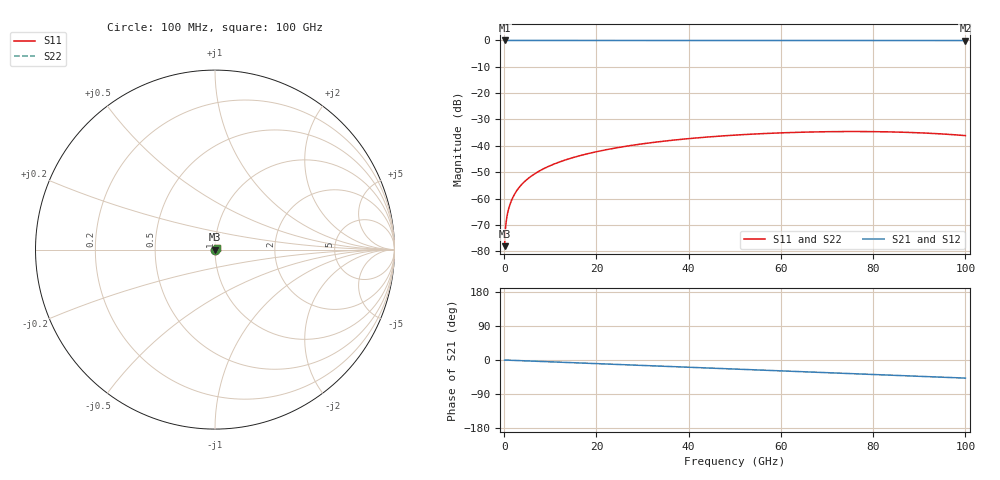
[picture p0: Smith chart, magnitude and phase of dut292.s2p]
! Touchstone file exported from HFSS 2026.1.0
!  File:  C:/ffzhzh/LocalFiles/Ansys_Project_Files/temp_train_TSV_292_1783509041_44152.aedt
!  Generated:  07:11:52 PM Jul  8, 2026
!  Design:  TSV
!  Project:  temp_train_TSV_292_1783509041_44152
! Variables:
!  h_bsmrdl = 2um
!  h_ox = 20um
!  h_rdl = 5um
!  h_sub = 94.77um
!  h_tmrdl = 5um
!  h_tsv = 94.77um
!  h_via = 3um
!  l_bsmrdl = 300um
!  l_sub = 427.04um
!  l_tmrdl = 200um
!  m_sub = 200um
!  pitch = 56.96um
!  r_tsv = 13.52um
!  s_tmrdl = 10um
!  w_bsmrdl = 18um
!  w_sub = 500um
!  w_tmrdl = 12um
!  x_tsv_center1 = 206um
!  x_tsv_center2 = 524um
!  x_tsv_center3 = 736um
!  x_tsv_center4 = 1054um
!  x_tsv_center5 = 1266um
!  x_tsv_center6 = 1584um
# GHz S MA R 50.000000
! Terminal data exported
! Port[1] = TSV1_1_T1
! Port[2] = TSV1_1_T2
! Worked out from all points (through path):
!   1000 points, 100 MHz to 100 GHz, reference 50 ohm
!   highest |S21| = 0.00 dB at 100 MHz (marker M1); lowest = 0.0 dB at 100 GHz (marker M2)
!   group delay of S21, straight-line fit = 1.33 ps
!   lowest |S11| = -78.1 dB at 100 MHz (marker M3), VSWR 1.00, Z = 50 + j0.00851 ohm
!   |S11| at or under -10 dB: start of sweep to end of sweep
!   |S22| runs from -78.1 to -34.6 dB; largest |S21 - S12| = 6.3e-15
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0.1  0.0001247 43.1  0.9999 -0.1  0.9999 -0.1  0.0001247 43.1
! Gamma 0 0 0 0
! Port Impedance 50 0 50 0
0.3  0.0002697 61.0  0.9999 -0.1  0.9999 -0.1  0.0002697 61.0
0.7  0.0005056 64.1  0.9998 -0.3  0.9998 -0.3  0.0005056 64.1
0.8  0.0005552 64.6  0.9998 -0.4  0.9998 -0.4  0.0005552 64.6
1  0.0006499 65.6  0.9997 -0.5  0.9997 -0.5  0.0006499 65.6
1.3  0.0007867 67.1  0.9997 -0.6  0.9997 -0.6  0.0007867 67.1
1.8  0.001009 69.1  0.9997 -0.9  0.9997 -0.9  0.001009 69.0
2.4  0.00127 70.5  0.9996 -1.2  0.9996 -1.2  0.00127 70.5
3.1  0.001564 71.5  0.9995 -1.5  0.9995 -1.5  0.001564 71.5
3.9  0.001888 72.3  0.9995 -1.9  0.9995 -1.9  0.001888 72.3
6.1  0.002748 73.6  0.9994 -2.9  0.9994 -2.9  0.002748 73.6
8.9  0.003807 74.0  0.9992 -4.3  0.9992 -4.3  0.003807 74.0
12.5  0.005121 73.6  0.9991 -6.0  0.9991 -6.0  0.005121 73.6
16.8  0.006637 72.7  0.9989 -8.0  0.9989 -8.0  0.006638 72.7
24.3  0.009146 70.3  0.9987 -11.6  0.9987 -11.6  0.009147 70.3
33.4  0.01192 66.9  0.9984 -15.9  0.9984 -15.9  0.01192 66.9
41.4  0.01405 63.6  0.9982 -19.7  0.9982 -19.7  0.01406 63.5
50.1  0.016 59.8  0.998 -23.9  0.998 -23.9  0.016 59.7
66.7  0.01833 52.1  0.9976 -31.8  0.9976 -31.8  0.01833 52.0
83.4  0.0184 44.0  0.9972 -39.8  0.9972 -39.8  0.01841 43.9
92  0.01736 39.7  0.997 -43.9  0.997 -43.9  0.01737 39.5
100  0.01563 35.6  0.9967 -47.8  0.9967 -47.8  0.01564 35.3
